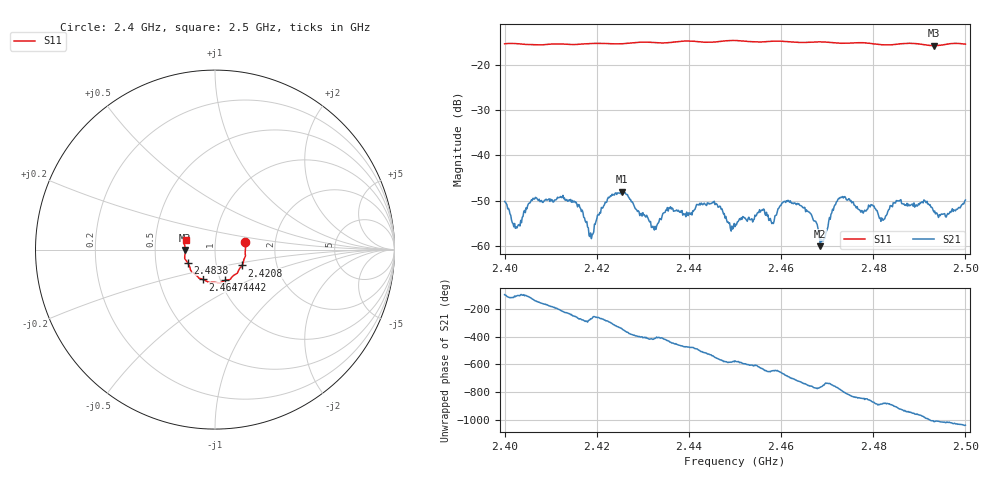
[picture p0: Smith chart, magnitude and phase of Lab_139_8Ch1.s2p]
# Hz S RI R 50
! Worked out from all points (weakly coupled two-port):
!   601 points, 2.4 GHz to 2.5 GHz, reference 50 ohm
!   highest |S21| = -48.04 dB at 2.4255 GHz (marker M1); lowest = -60.1 dB at 2.4685 GHz (marker M2)
!   lowest |S11| = -15.6 dB at 2.4932 GHz (marker M3), VSWR 1.40, Z = 35.8 - j0.108 ohm
!   |S11| at or under -10 dB: start of sweep to end of sweep
!   S12 and S22 are empty: the file has one direction only
!   S11 on the Smith chart (normalised r, x): 2.4 GHz: 1.40, +0.12; 2.4208 GHz: 1.33, -0.24; 2.4442 GHz: 1.05, -0.37; 2.4647 GHz: 0.83, -0.29; 2.4838 GHz: 0.73, -0.11; 2.5 GHz: 0.72, +0.08
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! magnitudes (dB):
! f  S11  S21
! 2.4 GHz  -15.2  -50.2
! 2.4025 GHz  -15.2  -55.9
! 2.4065 GHz  -15.4  -49.7
! 2.4167 GHz  -15.3  -52.5
! 2.4188 GHz  -15.2  -58.5
! 2.4208 GHz  -15.1  -52.8
! 2.4255 GHz  -15.2  -48.0
! 2.4333 GHz  -15.0  -55.0
! 2.4355 GHz  -15.0  -52.4
! 2.4442 GHz  -14.9  -50.7
! 2.45 GHz  -14.5  -55.8
! 2.458 GHz  -14.7  -55.1
! 2.461 GHz  -14.7  -50.4
! 2.4647 GHz  -14.9  -51.5
! 2.4667 GHz  -14.8  -53.3
! 2.4685 GHz  -14.8  -60.1
! 2.4728 GHz  -15.1  -49.3
! 2.4818 GHz  -15.4  -53.9
! 2.4833 GHz  -15.5  -52.1
! 2.4838 GHz  -15.4  -51.1
! 2.4932 GHz  -15.6  -52.5
! 2.5 GHz  -15.3  -49.9
